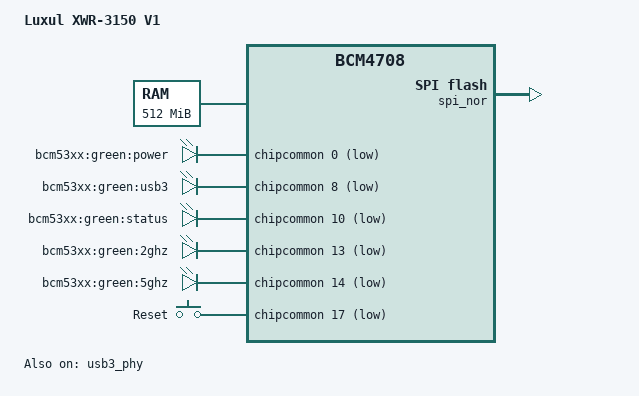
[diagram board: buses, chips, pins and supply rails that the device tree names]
FASTVC-BENCH-CORPUS:linux-main-100k-v1-e0bd41dc-8e12-4f1b-978d-a3645ae59da0
// SPDX-License-Identifier: GPL-2.0-or-later OR MIT
/*
 * Copyright 2018 Luxul Inc.
 */

/dts-v1/;

#include "bcm47094.dtsi"
#include "bcm5301x-nand-cs0-bch8.dtsi"

/ {
	compatible = "luxul,xwr-3150-v1", "brcm,bcm47094", "brcm,bcm4708";
	model = "Luxul XWR-3150 V1";

	chosen {
		bootargs = "earlycon";
	};

	memory@0 {
		device_type = "memory";
		reg = <0x00000000 0x08000000
		       0x88000000 0x18000000>;
	};

	leds {
		compatible = "gpio-leds";

		power	{
			label = "bcm53xx:green:power";
			gpios = <&chipcommon 0 GPIO_ACTIVE_LOW>;
			linux,default-trigger = "default-on";
		};

		usb3	{
			label = "bcm53xx:green:usb3";
			gpios = <&chipcommon 8 GPIO_ACTIVE_LOW>;
			trigger-sources = <&ohci_port1>, <&ehci_port1>,
					  <&xhci_port1>;
			linux,default-trigger = "usbport";
		};

		status	{
			label = "bcm53xx:green:status";
			gpios = <&chipcommon 10 GPIO_ACTIVE_LOW>;
			linux,default-trigger = "timer";
		};

		2ghz {
			label = "bcm53xx:green:2ghz";
			gpios = <&chipcommon 13 GPIO_ACTIVE_LOW>;
		};

		5ghz {
			label = "bcm53xx:green:5ghz";
			gpios = <&chipcommon 14 GPIO_ACTIVE_LOW>;
		};
	};

	gpio-keys {
		compatible = "gpio-keys";

		restart {
			label = "Reset";
			linux,code = <KEY_RESTART>;
			gpios = <&chipcommon 17 GPIO_ACTIVE_LOW>;
		};
	};
};

&usb3 {
	vcc-gpio = <&chipcommon 18 GPIO_ACTIVE_HIGH>;
};

&usb3_phy {
	status = "okay";
};

&spi_nor {
	status = "okay";
};

/* bench 3250.1.0 a26732cc9b90 */
/* bench 3250.1.1 b29d2042ea2f */
/* bench 3250.1.2 1d00bc99a9f1 */
/* bench 3250.1.3 989fa0ad0ff9 */
/* bench 3250.1.4 126f674f1d65 */
/* bench 3250.1.5 58029086cee6 */
/* bench 3250.1.6 6e66e1057c04 */
/* bench 3250.1.7 a986a47ec287 */
/* bench 3250.1.8 fa099f35e14f */
/* bench 3250.1.9 72b8ed19dd70 */
/* bench 3250.1.10 aca4d9556b8a */
/* bench 3250.1.11 afc8c1fb169f */
/* bench 3250.1.12 37f275e8ac90 */
/* bench 3250.1.13 dac576ef8905 */
/* bench 3250.1.14 8c26ddc2b094 */
	ports {
		port@0 {
			reg = <0>;
			label = "lan4";
		};

		port@1 {
			reg = <1>;
			label = "lan3";
		};

		port@2 {
			reg = <2>;
			label = "lan2";
		};

		port@3 {
			reg = <3>;
			label = "lan1";
		};

		port@4 {
			reg = <4>;
			label = "wan";
		};

		port@5 {
			reg = <5>;
			label = "cpu";
			ethernet = <&gmac0>;
		};
	};
};
